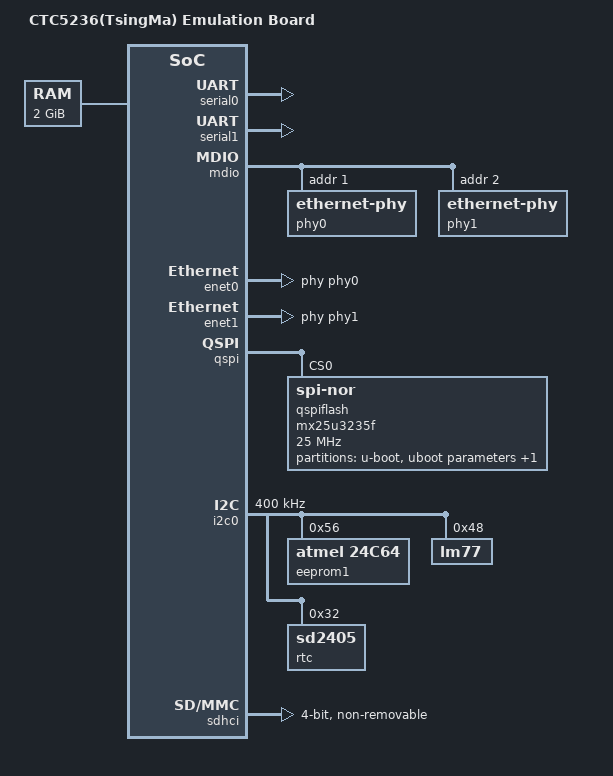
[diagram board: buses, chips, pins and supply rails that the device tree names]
/*
 * dts file for Centec CTC5236(TsingMa) SoC Emulation Board
 *
 * (C) Copyright 2004-2017 Centec Networks (suzhou) Co., LTD.
 *
 * Jay Cao <caoj@centecnetworks.com>
 *
 * This program is free software; you can redistribute it and/or
 * modify it under the terms of the GNU General Public License as
 * published by the Free Software Foundation; either version 2 of
 * the License, or (at your option) any later version.
 */

/dts-v1/;
#include "ctc5236_emu.dtsi"

/ {
	model = " CTC5236(TsingMa) Emulation Board";
	compatible = "ctc5236,ctc5236-emu";

	memory {
		device_type = "memory";
		reg = <0 0x80000000 0 0x80000000>;
	};

	chosen {
		stdout-path = "serial0:9600n8";
	};

	aliases {
		serial0 = &serial0;
		serial1 = &serial1;
		serial2 = &serial2;
		ethernet0 = &enet0;
		ethernet1 = &enet1;
	};
					
};

&serial0 {
	status = "okay";
};

&serial1 {
	status = "okay";
};

&serial2 {
        status = "disabled";
		pinctrl-names = "default";
        pinctrl-0 = <&uart2_pin>;
};

&mdio {
	status = "okay";
    phy0: ethernet-phy@0 {
		index = <0x00>;
		reg = <0x01>;
    };
    phy1: ethernet-phy@1 {
		index = <0x01>;
		reg = <0x02>;
    };
};

&enet0 {
        status = "okay";
	phy-handle = <&phy0>;
};

&enet1 {
        status = "okay";
	phy-handle = <&phy1>;
};

&qspi {
	status = "okay";	
		
	qspiflash: mx25u3235f@0 {
		compatible = "jedec,spi-nor";
		reg = <0x0>;
		spi-cpha; 
		spi-cpol;
		spi-max-frequency = <25000000>;
		
		partitions {
			compatible = "fixed-partitions";
			#address-cells = <1>;
			#size-cells = <1>;

			partition@0 {
				label = "u-boot";
				reg = <0x0 0x300000>;
				};
			partition@300000 {
				label = "uboot parameters";
				reg = <0x300000 0x10000>;
				};
			partition@310000 {
				label = "system";
				reg = <0x310000 0x1cf0000>;
				};	
		};
	};
};

&spi {
	status = "disabled";	
	
	spi-loopback {
		compatible = "linux,spi-loopback-test";
		reg = <0x1>;
		spi-max-frequency = <1000000>;
	};
		
	spiflash: w25q128@0 {
		#address-cells = <1>;
		#size-cells = <1>;
		compatible = "jedec,spi-nor";
		reg = <0>;		
		pl022,com-mode = <0x0>; 		
		spi-max-frequency = <1000000>;
	};
};

&switch {
	status = "disabled";
};


&switch1 {
	status = "disabled";
};

&i2c0{
	status = "okay";
	clock-frequency = <400000>;
	
	eeprom1:eeprom@56 { 
		compatible = "atmel,24c64";
		reg = <0x56>;
		pagesize = <32>; 
		};
		
	lm77:sensor@48{
		compatible = "lm77";
		reg = <0x48>;
		};	
	
	rtc:rtc@32{
		compatible = "sd2405";
		reg = <0x32>;
		};
};  

&i2c1{
	status = "disabled";
	clock-frequency = <400000>;
	
	eeprom2:eeprom@56 { 
		compatible = "atmel,24c64";
		reg = <0x56>;
		pagesize = <32>; 
		};
};

&ehci0 {
        status = "disabled";
};

&wtd0{
	status = "disabled";
};

&wtd1{
	status = "disabled";
};

&sdhci {
	bus-width = <4>;
	max-frequency = <100000000>;
	no-sd;
	no-sdio;
	voltage-ranges = <3300 3300>;
	status = "okay";
	non-removable;
};

&timer0 {
	status = "disabled";
};

&pwm {
	pinctrl-names = "default";
	pinctrl-0 = <&pwm0_pin>;
	status = "disabled";
};

&spi_pin{
	ctc,pins = <0 0 PIN_FUNC_SPI>,
		         <0 2 PIN_FUNC_SPI>,
	                 <0 3 PIN_FUNC_SPI>,
			 <0 5 PIN_FUNC_SPI>;
};

&pinctrl {
	pwm0 {
			pwm0_pin: pwm0_pin {
				ctc,pins = <0 4  PIN_FUNC_PWM>,
  				                 <0 9  PIN_FUNC_PWM>,
  				                 <0 10 PIN_FUNC_PWM>,
  				                 <0 11 PIN_FUNC_PWM>,
						 <0 12 PIN_FUNC_PWM>,
						 <0 13 PIN_FUNC_PWM>,
						 <0 14 PIN_FUNC_PWM>,
						 <0 15 PIN_FUNC_PWM>;
			};
		};
};

